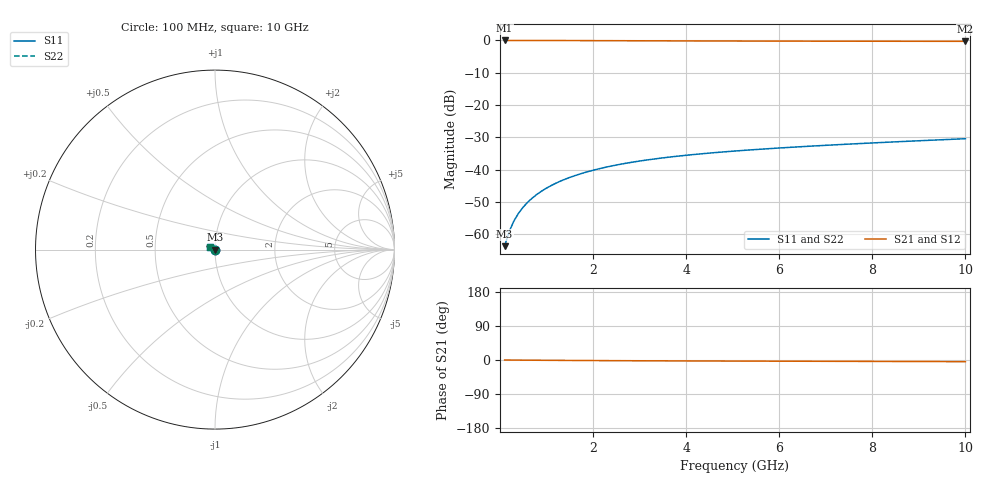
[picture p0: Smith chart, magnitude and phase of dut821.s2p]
! Touchstone file exported from HFSS 2024.1.0
!  File:  C:/UserFiles/LocalFiles/RDL_TSV_Batchsim/temp_TSV1_821_1779878091.aedt
!  Generated:  06:44:26 PM May 27, 2026
!  Design:  TSV1
!  Project:  temp_TSV1_821_1779878091
!  Setup:  Setup1
!  Solution:  Sweep
! Variables:
!  dtsv = 5.55um
!  hbump = 3um
!  htsv = 63.95um
!  lrdl = 252.1521522um
!  p = 40
!  p1 = 42.45um
!  t = 500um
!  trdl = 3um
!  wrdl = 24.89489489um
# GHz S MA R 50.000000
! Terminal data exported
! Port[1] = TSV22_T1
! Port[2] = TSV22_T2
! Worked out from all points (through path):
!   100 points, 100 MHz to 10 GHz, reference 50 ohm
!   highest |S21| = 0.00 dB at 100 MHz (marker M1); lowest = -0.3 dB at 10 GHz (marker M2)
!   lowest |S11| = -63.7 dB at 100 MHz (marker M3), VSWR 1.00, Z = 50 - j0.0529 ohm
!   |S11| at or under -10 dB: start of sweep to end of sweep
!   |S22| runs from -63.7 to -30.5 dB; largest |S21 - S12| = 7.8e-15
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0.1  0.0006496 -54.4  0.9996 -0.1  0.9996 -0.1  0.0006496 -54.4
! Gamma 0 0 0 0
! Port Impedance 50 0 50 0
0.2  0.001103 -73.3  0.9995 -0.2  0.9995 -0.2  0.001103 -73.3
0.3  0.001598 -82.1  0.9994 -0.2  0.9994 -0.2  0.001598 -82.1
0.4  0.002107 -87.6  0.9993 -0.3  0.9993 -0.3  0.002107 -87.6
0.5  0.00262 -91.8  0.9991 -0.4  0.9991 -0.4  0.00262 -91.8
0.6  0.003133 -95.1  0.9989 -0.5  0.9989 -0.5  0.003133 -95.1
0.7  0.003644 -98.0  0.9986 -0.6  0.9986 -0.6  0.003644 -98.0
0.8  0.004152 -100.7  0.9984 -0.6  0.9984 -0.6  0.004152 -100.7
0.9  0.004656 -103.1  0.9981 -0.7  0.9981 -0.7  0.004656 -103.1
1.1  0.005646 -107.7  0.9974 -0.9  0.9974 -0.9  0.005646 -107.7
1.4  0.007082 -114.0  0.9962 -1.1  0.9962 -1.1  0.007082 -114.0
1.6  0.008001 -117.9  0.9953 -1.2  0.9953 -1.2  0.008001 -117.9
1.8  0.008889 -121.7  0.9944 -1.4  0.9944 -1.4  0.008889 -121.7
2.1  0.01016 -127.0  0.9929 -1.5  0.9929 -1.5  0.01016 -127.0
2.5  0.01174 -133.8  0.9909 -1.8  0.9909 -1.8  0.01174 -133.8
2.9  0.01319 -140.1  0.9888 -2.0  0.9888 -2.0  0.01319 -140.1
3.4  0.01484 -147.4  0.9864 -2.2  0.9864 -2.2  0.01484 -147.4
4.2  0.01718 -157.8  0.9827 -2.5  0.9827 -2.5  0.01718 -157.8
5.1  0.01948 -168.0  0.9793 -2.8  0.9793 -2.8  0.01948 -168.0
6.7  0.02308 177.1  0.9747 -3.3  0.9747 -3.3  0.02308 177.1
8.4  0.02665 164.7  0.9714 -3.9  0.9714 -3.9  0.02665 164.7
10  0.03002 155.4  0.9691 -4.3  0.9691 -4.3  0.03002 155.4
